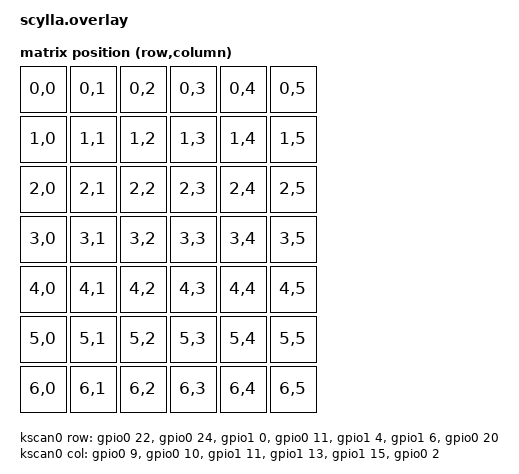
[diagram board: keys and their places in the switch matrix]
#include <dt-bindings/zmk/matrix_transform.h>

/ {
    chosen {
        zmk,kscan = &kscan0;
        zmk,matrix_transform = &default_transform;
    };

    default_transform: keymap_transform_0 {
        compatible = "zmk,matrix-transform";
        columns = <6>;
        rows = <7>;
        map = <
            RC(0,0) RC(0,1) RC(0,2) RC(0,3) RC(0,4) RC(0,5) // Row 0: NUMBERS (Спробуємо 0.22)
            RC(1,0) RC(1,1) RC(1,2) RC(1,3) RC(1,4) RC(1,5) // Row 1: QWERTY (0.24)
            RC(2,0) RC(2,1) RC(2,2) RC(2,3) RC(2,4) RC(2,5) // Row 2: ASDF (1.00)
            RC(3,0) RC(3,1) RC(3,2) RC(3,3) RC(3,4) RC(3,5) // Row 3: ZXCV (0.11)
            RC(4,0) RC(4,1) RC(4,2) RC(4,3) RC(4,4) RC(4,5) // Row 4: TEST THUMB 1 (1.04)
            RC(5,0) RC(5,1) RC(5,2) RC(5,3) RC(5,4) RC(5,5) // Row 5: TEST THUMB 2 (1.06)
            RC(6,0) RC(6,1) RC(6,2) RC(6,3) RC(6,4) RC(6,5) // Row 6: TEST EXTRA (0.20)
        >;
    };

    kscan0: kscan {
        compatible = "zmk,kscan-gpio-matrix";
        label = "KSCAN";
        diode-direction = "col2row";

        row-gpios = <&gpio0 22 (GPIO_ACTIVE_HIGH | GPIO_PULL_DOWN)>, // Row 0
                    <&gpio0 24 (GPIO_ACTIVE_HIGH | GPIO_PULL_DOWN)>, // Row 1
                    <&gpio1 0  (GPIO_ACTIVE_HIGH | GPIO_PULL_DOWN)>, // Row 2
                    <&gpio0 11 (GPIO_ACTIVE_HIGH | GPIO_PULL_DOWN)>, // Row 3
                    <&gpio1 4  (GPIO_ACTIVE_HIGH | GPIO_PULL_DOWN)>, // Row 4
                    <&gpio1 6  (GPIO_ACTIVE_HIGH | GPIO_PULL_DOWN)>, // Row 5
                    <&gpio0 20 (GPIO_ACTIVE_HIGH | GPIO_PULL_DOWN)>; // Row 6

        /* Ваш перевірений порядок стовпців */
        col-gpios = <&gpio0 9  GPIO_ACTIVE_HIGH>, 
                    <&gpio0 10 GPIO_ACTIVE_HIGH>, 
                    <&gpio1 11 GPIO_ACTIVE_HIGH>, 
                    <&gpio1 13 GPIO_ACTIVE_HIGH>, 
                    <&gpio1 15 GPIO_ACTIVE_HIGH>, 
                    <&gpio0 2  GPIO_ACTIVE_HIGH>; 
    };
};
